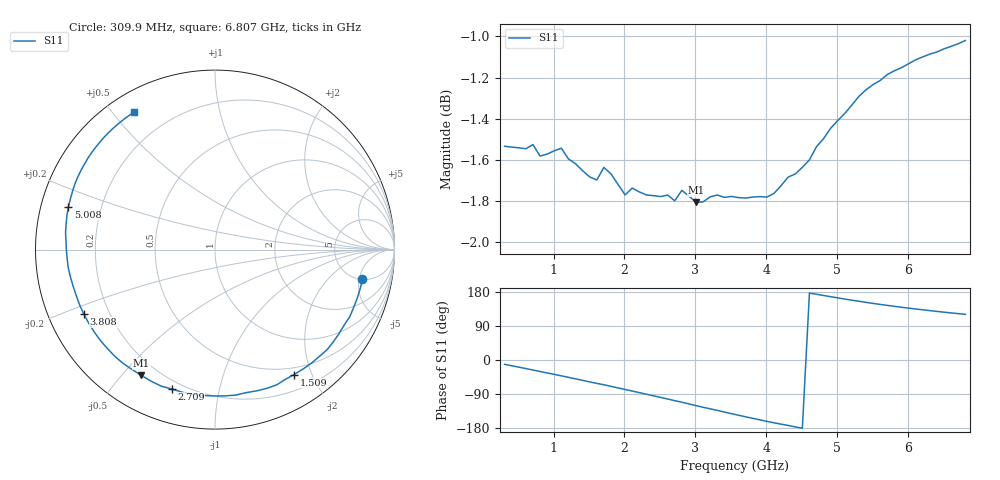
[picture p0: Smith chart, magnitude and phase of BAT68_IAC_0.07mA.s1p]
! Infineon Technologies  Discrete & RF Semiconductors
! BAT68
! IAC = 0.07 mA
! One-Port S-Parameters
# Hz  S  MA  R  50
!f  S11
!Hz  Mag  Ang
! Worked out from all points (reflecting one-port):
!   66 points, 309.9 MHz to 6.807 GHz, reference 50 ohm
!   lowest |S11| = -1.8 dB at 3.009 GHz (marker M1), VSWR 9.65, Z = 6.86 - j28.2 ohm
!   phase of S11 starts at -11 deg and turns -228 deg over the sweep
!   S11 on the Smith chart (normalised r, x): 309.9 MHz: 5.00, -5.59; 1.509 GHz: 0.40, -1.74; 2.709 GHz: 0.16, -0.72; 3.808 GHz: 0.11, -0.23; 5.008 GHz: 0.08, +0.14; 6.807 GHz: 0.08, +0.57
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3.0985e8  0.8381 -11.4
5.0975e8  0.8374 -18.9
7.0965e8  0.8389 -26.4
1.0095e9  0.836 -37.9
1.2094e9  0.8322 -45.7
1.50925e9  0.8239 -57.8
1.70915e9  0.8282 -65.3
1.8091e9  0.8253 -69.4
2.009e9  0.8156 -77.9
2.2089e9  0.817 -86.0
2.4088e9  0.8153 -94.5
2.6087e9  0.8155 -102.9
2.70865e9  0.8129 -107.3
2.8086e9  0.8177 -111.4
3.0085e9  0.8122 -120.4
3.30835e9  0.8155 -133.0
3.6082e9  0.8144 -145.7
3.8081e9  0.8146 -154.0
4.10795e9  0.8163 -165.7
4.4078e9  0.8252 -176.5
4.70765e9  0.8379 173.5
5.0075e9  0.8503 163.9
5.2074e9  0.8577 157.8
5.4073e9  0.8651 152.1
5.6072e9  0.8696 146.6
6.007e9  0.8777 136.9
6.4068e9  0.8835 128.2
6.8066e9  0.8892 120.4
